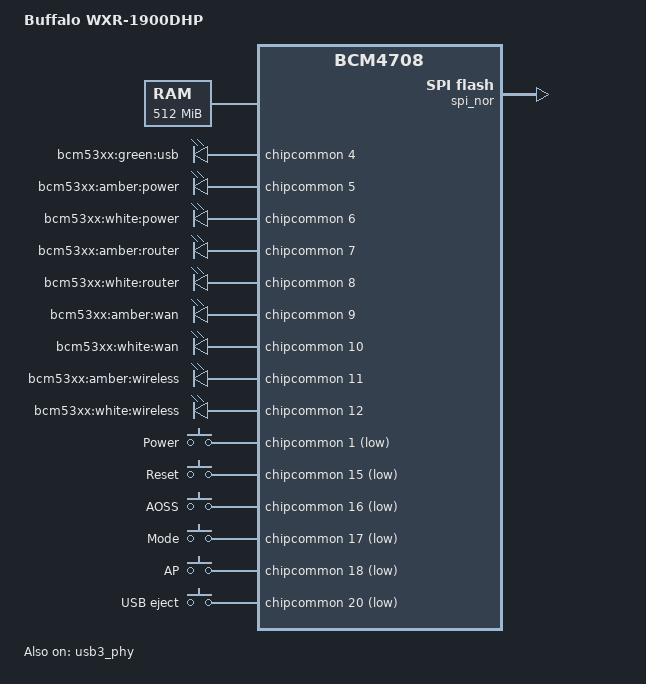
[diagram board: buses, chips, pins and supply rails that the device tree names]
// SPDX-License-Identifier: GPL-2.0-or-later OR MIT
/*
 * Broadcom BCM470X / BCM5301X ARM platform code.
 * DTS for Buffalo WXR-1900DHP
 *
 * Copyright (C) 2015 Felix Fietkau <nbd@openwrt.org>
 */

/dts-v1/;

#include "bcm4709.dtsi"
#include "bcm5301x-nand-cs0-bch8.dtsi"

/ {
	compatible = "buffalo,wxr-1900dhp", "brcm,bcm4709", "brcm,bcm4708";
	model = "Buffalo WXR-1900DHP";

	chosen {
		bootargs = "console=ttyS0,115200";
	};

	memory@0 {
		device_type = "memory";
		reg = <0x00000000 0x08000000>,
		      <0x88000000 0x18000000>;
	};

	leds {
		compatible = "gpio-leds";

		led-usb {
			label = "bcm53xx:green:usb";
			gpios = <&chipcommon 4 GPIO_ACTIVE_HIGH>;
		};

		led-power-amber {
			label = "bcm53xx:amber:power";
			gpios = <&chipcommon 5 GPIO_ACTIVE_HIGH>;
		};

		led-power-white {
			label = "bcm53xx:white:power";
			gpios = <&chipcommon 6 GPIO_ACTIVE_HIGH>;
			linux,default-trigger = "default-on";
		};

		led-router-amber {
			label = "bcm53xx:amber:router";
			gpios = <&chipcommon 7 GPIO_ACTIVE_HIGH>;
		};

		led-router-white {
			label = "bcm53xx:white:router";
			gpios = <&chipcommon 8 GPIO_ACTIVE_HIGH>;
		};

		led-wan-amber {
			label = "bcm53xx:amber:wan";
			gpios = <&chipcommon 9 GPIO_ACTIVE_HIGH>;
		};

		led-wan-white {
			label = "bcm53xx:white:wan";
			gpios = <&chipcommon 10 GPIO_ACTIVE_HIGH>;
		};

		led-wireless-amber {
			label = "bcm53xx:amber:wireless";
			gpios = <&chipcommon 11 GPIO_ACTIVE_HIGH>;
		};

		led-wireless-white {
			label = "bcm53xx:white:wireless";
			gpios = <&chipcommon 12 GPIO_ACTIVE_HIGH>;
		};
	};

	gpio-keys {
		compatible = "gpio-keys";

		button-power {
			label = "Power";
			linux,code = <KEY_POWER>;
			gpios = <&chipcommon 1 GPIO_ACTIVE_LOW>;
		};

		button-restart {
			label = "Reset";
			linux,code = <KEY_RESTART>;
			gpios = <&chipcommon 15 GPIO_ACTIVE_LOW>;
		};

		button-aoss {
			label = "AOSS";
			linux,code = <KEY_WPS_BUTTON>;
			gpios = <&chipcommon 16 GPIO_ACTIVE_LOW>;
		};

		/* Commit mode set by switch? */
		button-mode {
			label = "Mode";
			linux,code = <KEY_SETUP>;
			gpios = <&chipcommon 17 GPIO_ACTIVE_LOW>;
		};

		/* Switch: AP mode */
		button-sw-ap {
			label = "AP";
			linux,code = <BTN_0>;
			gpios = <&chipcommon 18 GPIO_ACTIVE_LOW>;
		};

		button-eject {
			label = "USB eject";
			linux,code = <KEY_EJECTCD>;
			gpios = <&chipcommon 20 GPIO_ACTIVE_LOW>;
		};
	};
};


&usb2 {
	vcc-gpio = <&chipcommon 13 GPIO_ACTIVE_HIGH>;
};

&spi_nor {
	status = "okay";
};

&usb3_phy {
	status = "okay";
};
